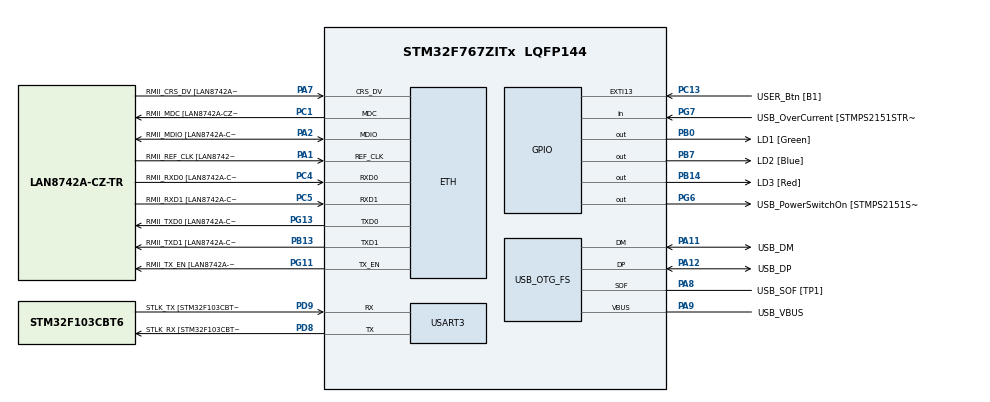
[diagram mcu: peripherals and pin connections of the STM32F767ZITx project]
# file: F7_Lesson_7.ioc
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ETH.MediaInterface=HAL_ETH_RMII_MODE
ETH.PHY_Name=LAN8742A_PHY_ADDRESS
ETH.PHY_Value=0
ETH.PhyAddress=0
Mcu.Family=STM32F7
Mcu.Name=STM32F767ZITx
Mcu.Package=LQFP144
NVIC.PriorityGroup=NVIC_PRIORITYGROUP_4
PA1.GPIO_Label=RMII_REF_CLK [LAN8742A-CZ-TR_REFCLK0]
PA1.Mode=RMII
PA1.Signal=ETH_REF_CLK
PA10.GPIO_Label=USB_ID
PA10.Signal=USB_OTG_FS_ID
PA11.GPIO_Label=USB_DM
PA11.Mode=Device_Only
PA11.Signal=USB_OTG_FS_DM
PA12.GPIO_Label=USB_DP
PA12.Mode=Device_Only
PA12.Signal=USB_OTG_FS_DP
PA13.GPIO_Label=TMS
PA13.Mode=Serial_Wire
PA13.Signal=SYS_JTMS-SWDIO
PA14.GPIO_Label=TCK
PA14.Mode=Serial_Wire
PA14.Signal=SYS_JTCK-SWCLK
PA2.GPIO_Label=RMII_MDIO [LAN8742A-CZ-TR_MDIO]
PA2.Mode=RMII
PA2.Signal=ETH_MDIO
PA7.GPIO_Label=RMII_CRS_DV [LAN8742A-CZ-TR_CRS_DV]
PA7.Mode=RMII
PA7.Signal=ETH_CRS_DV
PA8.GPIO_Label=USB_SOF [TP1]
PA8.Mode=Activate_SOF_FS
PA8.Signal=USB_OTG_FS_SOF
PA9.GPIO_Label=USB_VBUS
PA9.Mode=Activate_VBUS
PA9.Signal=USB_OTG_FS_VBUS
PB0.GPIO_Label=LD1 [Green]
PB0.Signal=GPIO_Output
PB13.GPIO_Label=RMII_TXD1 [LAN8742A-CZ-TR_TXD1]
PB13.Mode=RMII
PB13.Signal=ETH_TXD1
PB14.GPIO_Label=LD3 [Red]
PB14.Signal=GPIO_Output
PB3.GPIO_Label=SWO
PB3.Signal=SYS_JTDO-SWO
PB7.GPIO_Label=LD2 [Blue]
PB7.Signal=GPIO_Output
PC1.GPIO_Label=RMII_MDC [LAN8742A-CZ-TR_MDC]
PC1.Mode=RMII
PC1.Signal=ETH_MDC
PC13.GPIO_Label=USER_Btn [B1]
PC13.Signal=GPXTI13
PC14/OSC32_IN.Mode=LSE-External-Oscillator
PC14/OSC32_IN.Signal=RCC_OSC32_IN
PC15/OSC32_OUT.Mode=LSE-External-Oscillator
PC15/OSC32_OUT.Signal=RCC_OSC32_OUT
PC4.GPIO_Label=RMII_RXD0 [LAN8742A-CZ-TR_RXD0]
PC4.Mode=RMII
PC4.Signal=ETH_RXD0
PC5.GPIO_Label=RMII_RXD1 [LAN8742A-CZ-TR_RXD1]
PC5.Mode=RMII
PC5.Signal=ETH_RXD1
PD8.GPIO_Label=STLK_RX [STM32F103CBT6_PA3]
PD8.Mode=Asynchronous
PD8.Signal=USART3_TX
PD9.GPIO_Label=STLK_TX [STM32F103CBT6_PA2]
PD9.Mode=Asynchronous
PD9.Signal=USART3_RX
PG11.GPIO_Label=RMII_TX_EN [LAN8742A-CZ-TR_TXEN]
PG11.Mode=RMII
PG11.Signal=ETH_TX_EN
PG13.GPIO_Label=RMII_TXD0 [LAN8742A-CZ-TR_TXD0]
PG13.Mode=RMII
PG13.Signal=ETH_TXD0
PG6.GPIO_Label=USB_PowerSwitchOn [STMPS2151STR_EN]
PG6.Signal=GPIO_Output
PG7.GPIO_Label=USB_OverCurrent [STMPS2151STR_FAULT]
PG7.Signal=GPIO_Input
PH0/OSC_IN.GPIO_Label=MCO [STM32F103CBT6_PA8]
PH0/OSC_IN.Mode=HSE-External-Clock-Source
PH0/OSC_IN.Signal=RCC_OSC_IN
PH1/OSC_OUT.Mode=HSE-External-Clock-Source
PH1/OSC_OUT.Signal=RCC_OSC_OUT
ProjectManager.HeapSize=0x200
ProjectManager.StackSize=0x400
ProjectManager.TargetToolchain=STM32CubeIDE
RCC.48MHZClocksFreq_Value=24000000
RCC.AHBFreq_Value=96000000
RCC.APB1CLKDivider=RCC_HCLK_DIV2
RCC.APB1Freq_Value=48000000
RCC.APB1TimFreq_Value=96000000
RCC.APB2Freq_Value=96000000
RCC.APB2TimFreq_Value=96000000
RCC.CortexFreq_Value=96000000
RCC.HCLKFreq_Value=96000000
RCC.HSE_VALUE=8000000
RCC.HSI_VALUE=16000000
RCC.PLLM=4
RCC.PLLMUL=RCC_PLL_MUL9
RCC.PLLN=96
RCC.PLLQ=4
RCC.PRESCALERUSB=RCC_USBCLKSOURCE_PLL_DIV1_5
RCC.SYSCLKFreq_VALUE=96000000
RCC.SYSCLKSource=RCC_SYSCLKSOURCE_PLLCLK
RCC.SYSCLKSourceVirtual=RCC_SYSCLKSOURCE_PLLCLK
RCC.USBFreq_Value=48000000
RCC.VCOOutputFreq_Value=192000000
USART3.VirtualMode-Asynchronous=VM_ASYNC
USB_OTG_FS.VirtualMode=Device_Only
board=NUCLEO-F767ZI

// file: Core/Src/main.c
/* USER CODE BEGIN Header */
/**
  ******************************************************************************
  * @file           : main.c
  * @brief          : Main program body
  ******************************************************************************
  * @attention
  *
  * Copyright (c) 2025 STMicroelectronics.
  * All rights reserved.
  *
  * This software is licensed under terms that can be found in the LICENSE file
  * in the root directory of this software component.
  * If no LICENSE file comes with this software, it is provided AS-IS.
  *
  ******************************************************************************
  */
/* USER CODE END Header */
#include "main.h"
#include "string.h"

/* USER CODE BEGIN PD */

#define MY_GPIOB_BASE 0x40020400U
#define MY_GPIOB_ODR (*((unsigned int*)(MY_GPIOB_BASE + 0x14U)))
#define MY_GPIOB_BSRR (*((unsigned int*)(MY_GPIOB_BASE + 0x18U)))
#define MY_LED_BLUE (1U << 7)
#define MY_LED_RED (1U << 14)

/* USER CODE END PD */

#if defined ( __ICCARM__ ) /*!< IAR Compiler */
#pragma location=0x2007c000
ETH_DMADescTypeDef  DMARxDscrTab[ETH_RX_DESC_CNT]; /* Ethernet Rx DMA Descriptors */
#pragma location=0x2007c0a0
ETH_DMADescTypeDef  DMATxDscrTab[ETH_TX_DESC_CNT]; /* Ethernet Tx DMA Descriptors */

#elif defined ( __CC_ARM )  /* MDK ARM Compiler */

__attribute__((at(0x2007c000))) ETH_DMADescTypeDef  DMARxDscrTab[ETH_RX_DESC_CNT]; /* Ethernet Rx DMA Descriptors */
__attribute__((at(0x2007c0a0))) ETH_DMADescTypeDef  DMATxDscrTab[ETH_TX_DESC_CNT]; /* Ethernet Tx DMA Descriptors */

#elif defined ( __GNUC__ ) /* GNU Compiler */

ETH_DMADescTypeDef DMARxDscrTab[ETH_RX_DESC_CNT] __attribute__((section(".RxDecripSection"))); /* Ethernet Rx DMA Descriptors */
ETH_DMADescTypeDef DMATxDscrTab[ETH_TX_DESC_CNT] __attribute__((section(".TxDecripSection")));   /* Ethernet Tx DMA Descriptors */
#endif

ETH_TxPacketConfig TxConfig;

ETH_HandleTypeDef heth;

PCD_HandleTypeDef hpcd_USB_OTG_FS;

void SystemClock_Config(void);
static void MX_GPIO_Init(void);
static void MX_ETH_Init(void);
static void MX_USART3_UART_Init(void);
static void MX_USB_OTG_FS_PCD_Init(void);

int main(void)
{

  /* MCU Configuration--------------------------------------------------------*/

  /* Reset of all peripherals, Initializes the Flash interface and the Systick. */
  HAL_Init();

  /* Configure the system clock */
  SystemClock_Config();

  /* Initialize all configured peripherals */
  MX_GPIO_Init();
  MX_ETH_Init();
  MX_USART3_UART_Init();
  MX_USB_OTG_FS_PCD_Init();

  /* Infinite loop */
  /* USER CODE BEGIN WHILE */

  MY_GPIOB_ODR = MY_LED_BLUE;

  int volatile counter[2] = { 0, 0 }; // array definition and initialization

  while (1) {

      /*
       * Turn the red led on
       * without modifying the state of the modify the blue led
       * in an atomic operation
       */
      MY_GPIOB_BSRR = MY_LED_RED;

      /*
       * Syntax for reading and modifying an element of an array
       */
      counter[0] = 0;
      while (counter[0] < 1000000) {
          ++counter[0];
      }

      /*
       * Turn the red led off
       * without modifying the state of the modify the blue led
       * in an load-modifiy-storage procedure
       */
      MY_GPIOB_ODR &= ~MY_LED_RED;

      /*
       * Syntax for reading and modifying an array element
       * using pointer arithmetic
       */
      *(counter + 1) = 0;
      while (*(counter + 1) < 1000000) {
          ++(*(counter + 1));
      }

  }

  while (1)
  {
    /* USER CODE END WHILE */

  }
}

void SystemClock_Config(void)
{
  LL_FLASH_SetLatency(LL_FLASH_LATENCY_3);
  while(LL_FLASH_GetLatency()!= LL_FLASH_LATENCY_3)
  {
  }
  LL_PWR_SetRegulVoltageScaling(LL_PWR_REGU_VOLTAGE_SCALE3);
  LL_PWR_EnableOverDriveMode();
  LL_RCC_HSE_EnableBypass();
  LL_RCC_HSE_Enable();

   /* Wait till HSE is ready */
  while(LL_RCC_HSE_IsReady() != 1)
  {

  }
  LL_RCC_PLL_ConfigDomain_SYS(LL_RCC_PLLSOURCE_HSE, LL_RCC_PLLM_DIV_4, 96, LL_RCC_PLLP_DIV_2);
  LL_RCC_PLL_ConfigDomain_48M(LL_RCC_PLLSOURCE_HSE, LL_RCC_PLLM_DIV_4, 96, LL_RCC_PLLQ_DIV_4);
  LL_RCC_PLL_Enable();

   /* Wait till PLL is ready */
  while(LL_RCC_PLL_IsReady() != 1)
  {

  }
  while (LL_PWR_IsActiveFlag_VOS() == 0)
  {
  }
  LL_RCC_SetAHBPrescaler(LL_RCC_SYSCLK_DIV_1);
  LL_RCC_SetAPB1Prescaler(LL_RCC_APB1_DIV_2);
  LL_RCC_SetAPB2Prescaler(LL_RCC_APB2_DIV_1);
  LL_RCC_SetSysClkSource(LL_RCC_SYS_CLKSOURCE_PLL);

   /* Wait till System clock is ready */
  while(LL_RCC_GetSysClkSource() != LL_RCC_SYS_CLKSOURCE_STATUS_PLL)
  {

  }
  LL_SetSystemCoreClock(96000000);

   /* Update the time base */
  if (HAL_InitTick (TICK_INT_PRIORITY) != HAL_OK)
  {
    Error_Handler();
  }

   /* Set Timers Clock Prescalers */
  LL_RCC_SetTIMPrescaler(LL_RCC_TIM_PRESCALER_TWICE);
}

static void MX_ETH_Init(void)
{

   static uint8_t MACAddr[6];

  heth.Instance = ETH;
  MACAddr[0] = 0x00;
  MACAddr[1] = 0x80;
  MACAddr[2] = 0xE1;
  MACAddr[3] = 0x00;
  MACAddr[4] = 0x00;
  MACAddr[5] = 0x00;
  heth.Init.MACAddr = &MACAddr[0];
  heth.Init.MediaInterface = HAL_ETH_RMII_MODE;
  heth.Init.TxDesc = DMATxDscrTab;
  heth.Init.RxDesc = DMARxDscrTab;
  heth.Init.RxBuffLen = 1524;

  if (HAL_ETH_Init(&heth) != HAL_OK)
  {
    Error_Handler();
  }

  memset(&TxConfig, 0 , sizeof(ETH_TxPacketConfig));
  TxConfig.Attributes = ETH_TX_PACKETS_FEATURES_CSUM | ETH_TX_PACKETS_FEATURES_CRCPAD;
  TxConfig.ChecksumCtrl = ETH_CHECKSUM_IPHDR_PAYLOAD_INSERT_PHDR_CALC;
  TxConfig.CRCPadCtrl = ETH_CRC_PAD_INSERT;

}

static void MX_USART3_UART_Init(void)
{

  LL_USART_InitTypeDef USART_InitStruct = {0};

  LL_GPIO_InitTypeDef GPIO_InitStruct = {0};

  LL_RCC_SetUSARTClockSource(LL_RCC_USART3_CLKSOURCE_PCLK1);

  /* Peripheral clock enable */
  LL_APB1_GRP1_EnableClock(LL_APB1_GRP1_PERIPH_USART3);

  LL_AHB1_GRP1_EnableClock(LL_AHB1_GRP1_PERIPH_GPIOD);
  /**USART3 GPIO Configuration
  PD8   ------> USART3_TX
  PD9   ------> USART3_RX
  */
  GPIO_InitStruct.Pin = STLK_RX_Pin;
  GPIO_InitStruct.Mode = LL_GPIO_MODE_ALTERNATE;
  GPIO_InitStruct.Speed = LL_GPIO_SPEED_FREQ_VERY_HIGH;
  GPIO_InitStruct.OutputType = LL_GPIO_OUTPUT_PUSHPULL;
  GPIO_InitStruct.Pull = LL_GPIO_PULL_NO;
  GPIO_InitStruct.Alternate = LL_GPIO_AF_7;
  LL_GPIO_Init(STLK_RX_GPIO_Port, &GPIO_InitStruct);

  GPIO_InitStruct.Pin = STLK_TX_Pin;
  GPIO_InitStruct.Mode = LL_GPIO_MODE_ALTERNATE;
  GPIO_InitStruct.Speed = LL_GPIO_SPEED_FREQ_VERY_HIGH;
  GPIO_InitStruct.OutputType = LL_GPIO_OUTPUT_PUSHPULL;
  GPIO_InitStruct.Pull = LL_GPIO_PULL_NO;
  GPIO_InitStruct.Alternate = LL_GPIO_AF_7;
  LL_GPIO_Init(STLK_TX_GPIO_Port, &GPIO_InitStruct);

  USART_InitStruct.BaudRate = 115200;
  USART_InitStruct.DataWidth = LL_USART_DATAWIDTH_8B;
  USART_InitStruct.StopBits = LL_USART_STOPBITS_1;
  USART_InitStruct.Parity = LL_USART_PARITY_NONE;
  USART_InitStruct.TransferDirection = LL_USART_DIRECTION_TX_RX;
  USART_InitStruct.HardwareFlowControl = LL_USART_HWCONTROL_NONE;
  USART_InitStruct.OverSampling = LL_USART_OVERSAMPLING_16;
  LL_USART_Init(USART3, &USART_InitStruct);
  LL_USART_ConfigAsyncMode(USART3);
  LL_USART_Enable(USART3);

}

static void MX_USB_OTG_FS_PCD_Init(void)
{

  hpcd_USB_OTG_FS.Instance = USB_OTG_FS;
  hpcd_USB_OTG_FS.Init.dev_endpoints = 6;
  hpcd_USB_OTG_FS.Init.speed = PCD_SPEED_FULL;
  hpcd_USB_OTG_FS.Init.dma_enable = DISABLE;
  hpcd_USB_OTG_FS.Init.phy_itface = PCD_PHY_EMBEDDED;
  hpcd_USB_OTG_FS.Init.Sof_enable = ENABLE;
  hpcd_USB_OTG_FS.Init.low_power_enable = DISABLE;
  hpcd_USB_OTG_FS.Init.lpm_enable = DISABLE;
  hpcd_USB_OTG_FS.Init.vbus_sensing_enable = ENABLE;
  hpcd_USB_OTG_FS.Init.use_dedicated_ep1 = DISABLE;
  if (HAL_PCD_Init(&hpcd_USB_OTG_FS) != HAL_OK)
  {
    Error_Handler();
  }

}

static void MX_GPIO_Init(void)
{
  LL_EXTI_InitTypeDef EXTI_InitStruct = {0};
  LL_GPIO_InitTypeDef GPIO_InitStruct = {0};

  /* GPIO Ports Clock Enable */
  LL_AHB1_GRP1_EnableClock(LL_AHB1_GRP1_PERIPH_GPIOC);
  LL_AHB1_GRP1_EnableClock(LL_AHB1_GRP1_PERIPH_GPIOH);
  LL_AHB1_GRP1_EnableClock(LL_AHB1_GRP1_PERIPH_GPIOA);
  LL_AHB1_GRP1_EnableClock(LL_AHB1_GRP1_PERIPH_GPIOB);
  LL_AHB1_GRP1_EnableClock(LL_AHB1_GRP1_PERIPH_GPIOD);
  LL_AHB1_GRP1_EnableClock(LL_AHB1_GRP1_PERIPH_GPIOG);

  /**/
  LL_GPIO_ResetOutputPin(LD1_GPIO_Port, LD1_Pin);

  /**/
  LL_GPIO_ResetOutputPin(LD3_GPIO_Port, LD3_Pin);

  /**/
  LL_GPIO_ResetOutputPin(USB_PowerSwitchOn_GPIO_Port, USB_PowerSwitchOn_Pin);

  /**/
  LL_GPIO_ResetOutputPin(LD2_GPIO_Port, LD2_Pin);

  /**/
  LL_SYSCFG_SetEXTISource(LL_SYSCFG_EXTI_PORTC, LL_SYSCFG_EXTI_LINE13);

  /**/
  EXTI_InitStruct.Line_0_31 = LL_EXTI_LINE_13;
  EXTI_InitStruct.LineCommand = ENABLE;
  EXTI_InitStruct.Mode = LL_EXTI_MODE_IT;
  EXTI_InitStruct.Trigger = LL_EXTI_TRIGGER_RISING;
  LL_EXTI_Init(&EXTI_InitStruct);

  /**/
  LL_GPIO_SetPinPull(USER_Btn_GPIO_Port, USER_Btn_Pin, LL_GPIO_PULL_NO);

  /**/
  LL_GPIO_SetPinMode(USER_Btn_GPIO_Port, USER_Btn_Pin, LL_GPIO_MODE_INPUT);

  /**/
  GPIO_InitStruct.Pin = LD1_Pin;
  GPIO_InitStruct.Mode = LL_GPIO_MODE_OUTPUT;
  GPIO_InitStruct.Speed = LL_GPIO_SPEED_FREQ_LOW;
  GPIO_InitStruct.OutputType = LL_GPIO_OUTPUT_PUSHPULL;
  GPIO_InitStruct.Pull = LL_GPIO_PULL_NO;
  LL_GPIO_Init(LD1_GPIO_Port, &GPIO_InitStruct);

  /**/
  GPIO_InitStruct.Pin = LD3_Pin;
  GPIO_InitStruct.Mode = LL_GPIO_MODE_OUTPUT;
  GPIO_InitStruct.Speed = LL_GPIO_SPEED_FREQ_LOW;
  GPIO_InitStruct.OutputType = LL_GPIO_OUTPUT_PUSHPULL;
  GPIO_InitStruct.Pull = LL_GPIO_PULL_NO;
  LL_GPIO_Init(LD3_GPIO_Port, &GPIO_InitStruct);

  /**/
  GPIO_InitStruct.Pin = USB_PowerSwitchOn_Pin;
  GPIO_InitStruct.Mode = LL_GPIO_MODE_OUTPUT;
  GPIO_InitStruct.Speed = LL_GPIO_SPEED_FREQ_LOW;
  GPIO_InitStruct.OutputType = LL_GPIO_OUTPUT_PUSHPULL;
  GPIO_InitStruct.Pull = LL_GPIO_PULL_NO;
  LL_GPIO_Init(USB_PowerSwitchOn_GPIO_Port, &GPIO_InitStruct);

  /**/
  GPIO_InitStruct.Pin = USB_OverCurrent_Pin;
  GPIO_InitStruct.Mode = LL_GPIO_MODE_INPUT;
  GPIO_InitStruct.Pull = LL_GPIO_PULL_NO;
  LL_GPIO_Init(USB_OverCurrent_GPIO_Port, &GPIO_InitStruct);

  /**/
  GPIO_InitStruct.Pin = LD2_Pin;
  GPIO_InitStruct.Mode = LL_GPIO_MODE_OUTPUT;
  GPIO_InitStruct.Speed = LL_GPIO_SPEED_FREQ_LOW;
  GPIO_InitStruct.OutputType = LL_GPIO_OUTPUT_PUSHPULL;
  GPIO_InitStruct.Pull = LL_GPIO_PULL_NO;
  LL_GPIO_Init(LD2_GPIO_Port, &GPIO_InitStruct);

}

void Error_Handler(void)
{
  __disable_irq();
  while (1)
  {
  }
}
